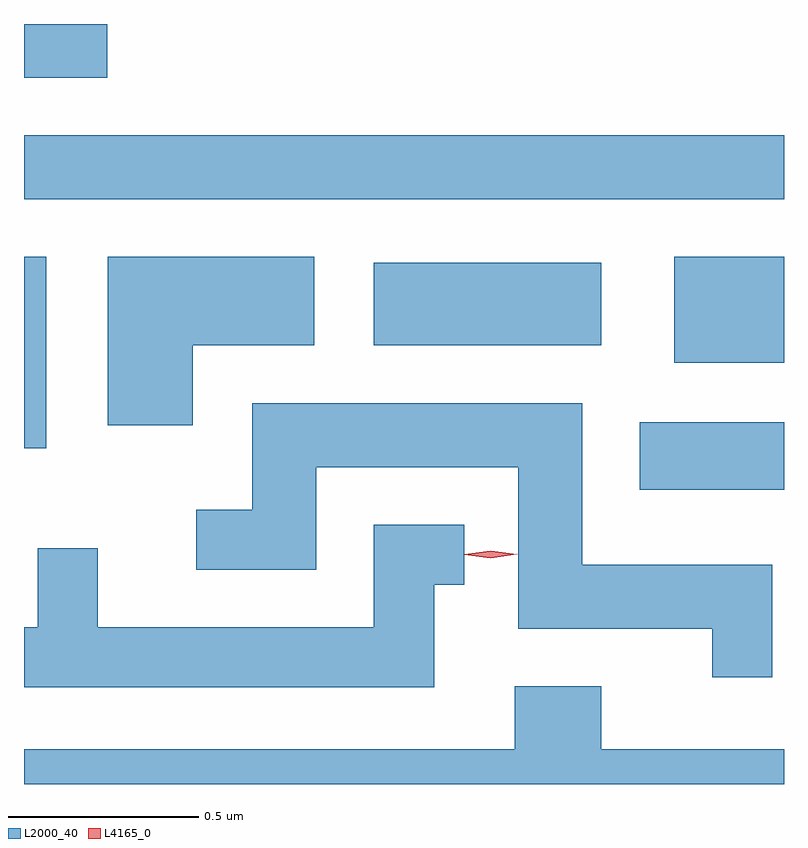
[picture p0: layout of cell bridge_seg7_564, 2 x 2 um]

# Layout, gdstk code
import gdstk
lib = gdstk.Library(unit=1e-6, precision=1e-09)
def R(c, l, rs):  # rectangles x0, y0, x1, y1
    for r in rs: c.add(gdstk.rectangle(r[:2], r[2:], *l))
def P(c, l, *ps):  # polygons
    for p in ps: c.add(gdstk.Polygon(p, *l))
L2000_40 = (2000, 40)
L4165_0 = (4165, 0)

bridge_seg7_564 = lib.new_cell('bridge_seg7_564')
R(bridge_seg7_564, L2000_40, [(854.261,1777.426,854.64,1777.604), (852.64,1777.536,852.699,1778.039), (854.351,1777.761,854.64,1778.039), (853.561,1777.806,854.159,1778.024), (852.64,1778.191,854.64,1778.359), (852.64,1778.511,852.859,1778.652)])
P(bridge_seg7_564, L2000_40, [(853.084,1777.806),(853.404,1777.806),(853.404,1778.039),(852.861,1778.039),(852.861,1777.596),(853.084,1777.596)],
  [(854.609,1777.229),(854.109,1777.229),(854.109,1777.654),(853.241,1777.654),(853.241,1777.374),(853.093,1777.374),(853.093,1777.216),(853.409,1777.216),(853.409,1777.486),(853.941,1777.486),(853.941,1777.061),(854.451,1777.061),(854.451,1776.933),(854.609,1776.933)],
  [(853.719,1777.176),(853.798,1777.176),(853.798,1777.334),(853.561,1777.334),(853.561,1777.064),(852.834,1777.064),(852.834,1777.273),(852.676,1777.273),(852.676,1777.064),(852.64,1777.064),(852.64,1776.906),(853.719,1776.906)],
  [(854.64,1776.744),(854.159,1776.744),(854.159,1776.909),(853.931,1776.909),(853.931,1776.744),(852.64,1776.744),(852.64,1776.652),(854.64,1776.652)])
P(bridge_seg7_564, L4165_0, [(853.868,1777.246),(853.799,1777.255),(853.799,1777.256),(853.799,1777.256),(853.868,1777.266),(853.938,1777.257),(853.938,1777.256),(853.938,1777.256)])

lib.write_gds('bridge_seg7_564.gds')
